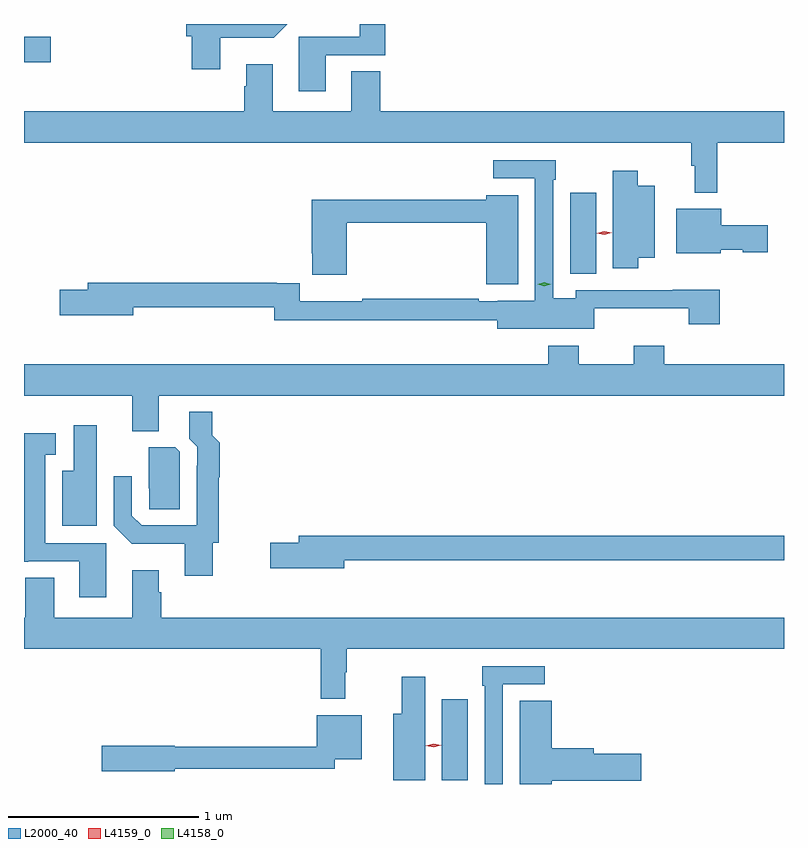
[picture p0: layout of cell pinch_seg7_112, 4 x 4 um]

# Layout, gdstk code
import gdstk
lib = gdstk.Library(unit=1e-6, precision=1e-09)
def R(c, l, rs):  # rectangles x0, y0, x1, y1
    for r in rs: c.add(gdstk.rectangle(r[:2], r[2:], *l))
def P(c, l, *ps):  # polygons
    for p in ps: c.add(gdstk.Polygon(p, *l))
L2000_40 = (2000, 40)
L4158_0 = (4158, 0)
L4159_0 = (4159, 0)

pinch_seg7_112 = lib.new_cell('pinch_seg7_112')
R(pinch_seg7_112, L2000_40, [(923.258,998.593,923.395,999.019), (923.933,1001.257,924.07,1001.683), (921.059,1002.371,921.199,1002.506)])
P(pinch_seg7_112, L2000_40, [(922.648,1002.408),(922.961,1002.408),(922.961,1002.572),(922.826,1002.572),(922.826,1002.504),(922.505,1002.504),(922.505,1002.219),(922.648,1002.219)],
  [(922.093,1002.5),(922.373,1002.5),(922.445,1002.572),(921.913,1002.572),(921.913,1002.507),(921.941,1002.507),(921.941,1002.333),(922.093,1002.333)],
  [(924.707,1001.948),(925.059,1001.948),(925.059,1002.112),(922.934,1002.112),(922.934,1002.323),(922.781,1002.323),(922.781,1002.112),(922.369,1002.112),(922.369,1002.361),(922.229,1002.361),(922.229,1002.245),(922.217,1002.245),(922.217,1002.112),(921.059,1002.112),(921.059,1001.948),(924.571,1001.948),(924.571,1001.825),(924.59,1001.825),(924.59,1001.685),(924.707,1001.685)],
  [(924.06,1001.075),(924.557,1001.075),(924.557,1000.992),(924.722,1000.992),(924.722,1001.174),(924.473,1001.174),(924.473,1001.172),(923.964,1001.172),(923.964,1001.128),(923.844,1001.128),(923.844,1001.753),(923.857,1001.753),(923.857,1001.856),(923.529,1001.856),(923.529,1001.76),(923.748,1001.76),(923.748,1001.116),(923.553,1001.116),(923.553,1001.112),(923.453,1001.112),(923.453,1001.125),(922.84,1001.125),(922.84,1001.113),(922.509,1001.113),(922.509,1001.207),(922.388,1001.207),(922.388,1001.21),(921.395,1001.21),(921.395,1001.174),(921.246,1001.174),(921.246,1001.039),(921.634,1001.039),(921.634,1001.082),(922.375,1001.082),(922.375,1001.014),(923.549,1001.014),(923.549,1000.967),(924.06,1000.967)],
  [(924.293,1001.342),(924.379,1001.342),(924.379,1001.722),(924.288,1001.722),(924.288,1001.8),(924.158,1001.8),(924.158,1001.286),(924.293,1001.286)],
  [(923.659,1001.671),(923.492,1001.671),(923.492,1001.647),(922.574,1001.647),(922.574,1001.365),(922.576,1001.365),(922.576,1001.253),(922.757,1001.253),(922.757,1001.526),(923.492,1001.526),(923.492,1001.201),(923.659,1001.201)],
  [(924.726,1001.384),(924.843,1001.384),(924.843,1001.372),(924.973,1001.372),(924.973,1001.514),(924.73,1001.514),(924.73,1001.599),(924.491,1001.599),(924.491,1001.366),(924.726,1001.366)],
  [(921.769,1000.616),(925.059,1000.616),(925.059,1000.78),(924.428,1000.78),(924.428,1000.879),(924.268,1000.879),(924.268,1000.78),(923.979,1000.78),(923.979,1000.879),(923.819,1000.879),(923.819,1000.78),(921.059,1000.78),(921.059,1000.616),(921.629,1000.616),(921.629,1000.429),(921.769,1000.429)],
  [(922.053,999.843),(922.085,999.843),(922.085,1000.186),(922.088,1000.186),(922.088,1000.368),(922.049,1000.407),(922.049,1000.531),(921.929,1000.531),(921.929,1000.39),(921.972,1000.347),(921.972,1000.247),(921.969,1000.247),(921.969,999.933),(921.678,999.933),(921.627,999.984),(921.627,1000.192),(921.531,1000.192),(921.531,999.93),(921.625,999.836),(921.905,999.836),(921.905,999.669),(922.053,999.669)],
  [(921.442,1000.459),(921.32,1000.459),(921.32,1000.222),(921.26,1000.222),(921.26,999.932),(921.442,999.932)],
  [(921.493,999.84),(921.172,999.84),(921.172,1000.304),(921.226,1000.304),(921.226,1000.417),(921.059,1000.417),(921.059,999.743),(921.081,999.743),(921.081,999.744),(921.35,999.744),(921.35,999.555),(921.493,999.555)],
  [(921.879,1000.32),(921.855,1000.344),(921.716,1000.344),(921.716,1000.129),(921.717,1000.129),(921.717,1000.018),(921.879,1000.018)],
  [(922.744,999.75),(925.059,999.75),(925.059,999.878),(922.505,999.878),(922.505,999.842),(922.356,999.842),(922.356,999.707),(922.744,999.707)],
  [(922.75,999.161),(922.757,999.161),(922.757,999.284),(925.059,999.284),(925.059,999.448),(921.782,999.448),(921.782,999.581),(921.769,999.581),(921.769,999.697),(921.629,999.697),(921.629,999.448),(921.217,999.448),(921.217,999.658),(921.065,999.658),(921.065,999.448),(921.059,999.448),(921.059,999.284),(922.621,999.284),(922.621,999.021),(922.75,999.021)],
  [(923.58,999.096),(923.8,999.096),(923.8,999.192),(923.472,999.192),(923.472,999.089),(923.484,999.089),(923.484,998.572),(923.58,998.572)],
  [(923.17,999.136),(923.048,999.136),(923.048,998.941),(923.003,998.941),(923.003,998.593),(923.17,998.593)],
  [(923.836,998.59),(924.307,998.59),(924.307,998.732),(924.058,998.732),(924.058,998.761),(923.836,998.761),(923.836,999.011),(923.669,999.011),(923.669,998.572),(923.836,998.572)],
  [(921.852,998.652),(922.695,998.652),(922.695,998.702),(922.837,998.702),(922.837,998.935),(922.599,998.935),(922.599,998.768),(921.852,998.768),(921.852,998.774),(921.468,998.774),(921.468,998.639),(921.852,998.639)])
P(pinch_seg7_112, L4158_0, [(923.797,1001.192),(923.762,1001.202),(923.762,1001.202),(923.762,1001.203),(923.797,1001.212),(923.831,1001.203),(923.831,1001.202),(923.831,1001.202)])
P(pinch_seg7_112, L4159_0, [(924.113,1001.462),(924.073,1001.471),(924.073,1001.471),(924.073,1001.472),(924.113,1001.482),(924.153,1001.473),(924.153,1001.473),(924.153,1001.473)],
  [(923.215,998.765),(923.174,998.774),(923.174,998.774),(923.174,998.774),(923.215,998.785),(923.256,998.776),(923.256,998.776),(923.256,998.776)])

lib.write_gds('pinch_seg7_112.gds')
